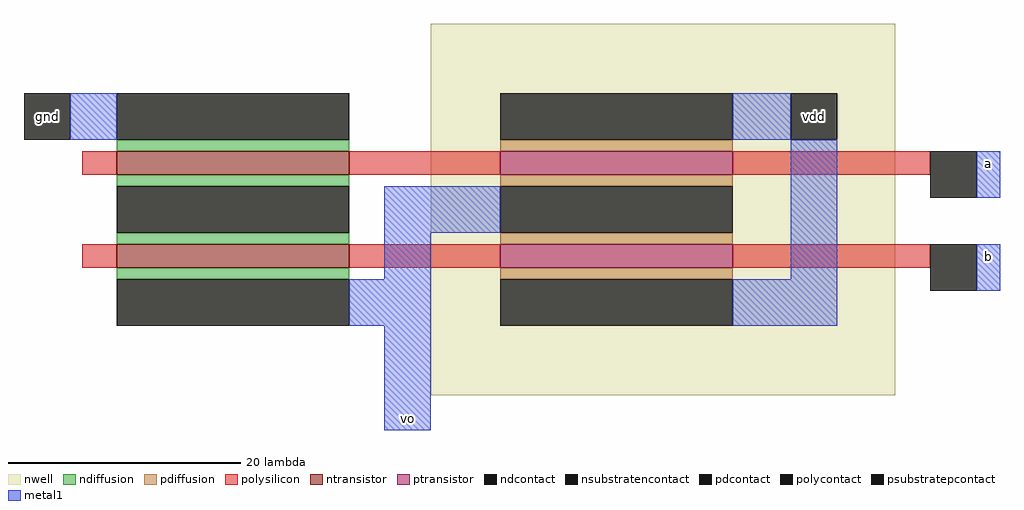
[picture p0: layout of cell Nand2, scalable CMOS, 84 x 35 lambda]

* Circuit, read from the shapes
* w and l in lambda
.subckt Nand2 a b gnd vdd vo
M1 n1 b vo gnd nfet w=20 l=2
M2 gnd a n1 gnd nfet w=20 l=2
M3 vo b vdd vdd pfet w=20 l=2
M4 vdd a vo vdd pfet w=20 l=2
.ends

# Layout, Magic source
magic
tech scmos
<< nwell >>
rect 35 -32 75 0
<< ntransistor >>
rect 8 -13 28 -11
rect 8 -21 28 -19
<< ptransistor >>
rect 41 -13 61 -11
rect 41 -21 61 -19
<< ndiffusion >>
rect 8 -11 28 -10
rect 8 -14 28 -13
rect 8 -19 28 -18
rect 8 -22 28 -21
<< pdiffusion >>
rect 41 -11 61 -10
rect 41 -14 61 -13
rect 41 -19 61 -18
rect 41 -22 61 -21
<< ndcontact >>
rect 8 -10 28 -6
rect 8 -18 28 -14
rect 8 -26 28 -22
<< pdcontact >>
rect 41 -10 61 -6
rect 41 -18 61 -14
rect 41 -26 61 -22
<< psubstratepcontact >>
rect 0 -10 4 -6
<< nsubstratencontact >>
rect 66 -10 70 -6
<< polysilicon >>
rect 5 -13 8 -11
rect 28 -13 41 -11
rect 61 -13 78 -11
rect 5 -21 8 -19
rect 28 -21 41 -19
rect 61 -21 78 -19
<< polycontact >>
rect 78 -15 82 -11
rect 78 -23 82 -19
<< metal1 >>
rect 4 -10 8 -6
rect 61 -10 66 -6
rect 31 -18 41 -14
rect 31 -22 35 -18
rect 66 -22 70 -10
rect 82 -15 84 -11
rect 28 -26 35 -22
rect 61 -26 70 -22
rect 82 -23 84 -19
rect 31 -35 35 -26
<< labels >>
rlabel psubstratepcontact 0 -10 4 -6 3 gnd
rlabel metal1 31 -35 35 -33 1 vo
rlabel metal1 82 -13 84 -11 7 a
rlabel metal1 82 -21 84 -19 7 b
rlabel nsubstratencontact 66 -10 70 -6 3 vdd
<< end >>
